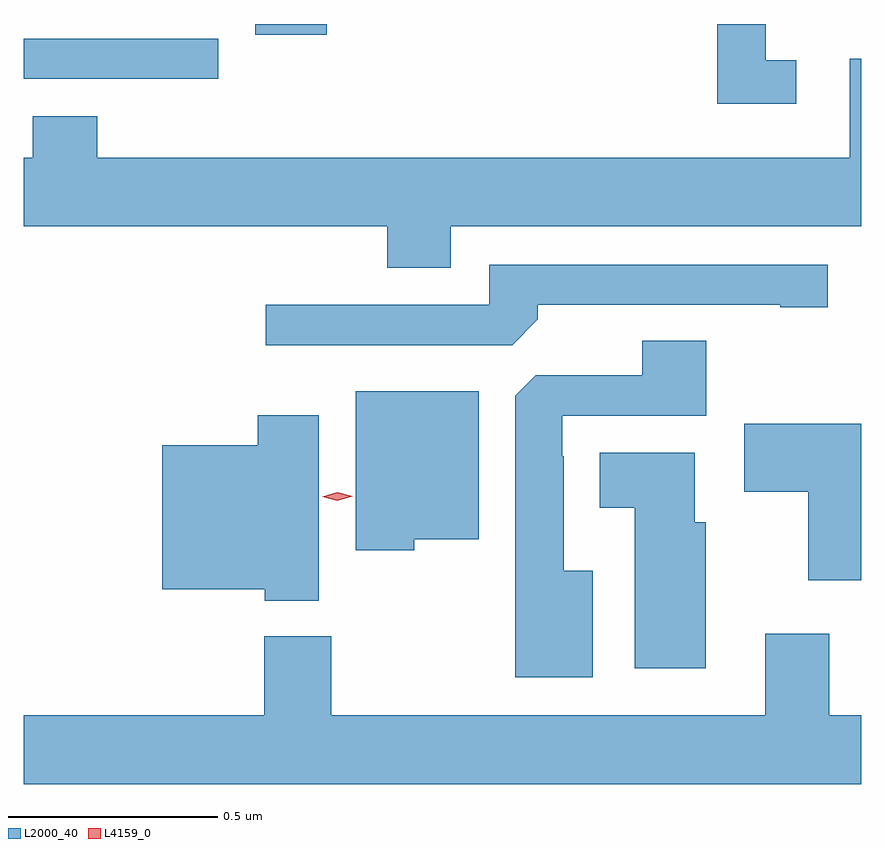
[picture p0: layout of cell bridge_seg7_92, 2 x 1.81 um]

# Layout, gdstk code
import gdstk
lib = gdstk.Library(unit=1e-6, precision=1e-09)
def R(c, l, rs):  # rectangles x0, y0, x1, y1
    for r in rs: c.add(gdstk.rectangle(r[:2], r[2:], *l))
def P(c, l, *ps):  # polygons
    for p in ps: c.add(gdstk.Polygon(p, *l))
L2000_40 = (2000, 40)
L4159_0 = (4159, 0)

bridge_seg7_92 = lib.new_cell('bridge_seg7_92')
R(bridge_seg7_92, L2000_40, [(1092.307,1000.968,1092.772,1001.064), (1092.86,1001.073,1093.031,1001.099)])
P(bridge_seg7_92, L2000_40, [(1094.152,1001.013),(1094.079,1001.013),(1094.079,1001.099),(1093.963,1001.099),(1093.963,1000.908),(1094.152,1000.908)],
  [(1093.327,1000.616),(1094.307,1000.616),(1094.307,1001.016),(1094.279,1001.016),(1094.279,1000.78),(1092.482,1000.78),(1092.482,1000.879),(1092.329,1000.879),(1092.329,1000.78),(1092.307,1000.78),(1092.307,1000.616),(1093.175,1000.616),(1093.175,1000.517),(1093.327,1000.517)],
  [(1093.535,1000.394),(1093.535,1000.428),(1094.114,1000.428),(1094.114,1000.423),(1094.227,1000.423),(1094.227,1000.524),(1093.419,1000.524),(1093.419,1000.428),(1092.885,1000.428),(1092.885,1000.332),(1093.473,1000.332)],
  [(1093.666,999.793),(1093.597,999.793),(1093.597,1000.067),(1093.593,1000.067),(1093.593,1000.164),(1093.937,1000.164),(1093.937,1000.343),(1093.784,1000.343),(1093.784,1000.26),(1093.53,1000.26),(1093.481,1000.211),(1093.481,999.539),(1093.666,999.539)],
  [(1093.239,999.869),(1093.393,999.869),(1093.393,1000.222),(1093.1,1000.222),(1093.1,999.842),(1093.239,999.842)],
  [(1093.012,1000.165),(1092.866,1000.165),(1092.866,1000.093),(1092.638,1000.093),(1092.638,999.749),(1092.882,999.749),(1092.882,999.722),(1093.012,999.722)],
  [(1094.307,1000.144),(1094.028,1000.144),(1094.028,999.982),(1094.18,999.982),(1094.18,999.771),(1094.307,999.771)],
  [(1093.936,999.909),(1093.909,999.909),(1093.909,1000.075),(1093.682,1000.075),(1093.682,999.944),(1093.766,999.944),(1093.766,999.561),(1093.936,999.561)],
  [(1094.307,999.448),(1094.231,999.448),(1094.231,999.643),(1094.078,999.643),(1094.078,999.448),(1093.041,999.448),(1093.041,999.637),(1092.881,999.637),(1092.881,999.448),(1092.307,999.448),(1092.307,999.284),(1094.307,999.284)])
P(bridge_seg7_92, L4159_0, [(1093.056,999.961),(1093.02,999.97),(1093.02,999.97),(1093.02,999.97),(1093.056,999.981),(1093.093,999.971),(1093.093,999.971),(1093.093,999.971)])

lib.write_gds('bridge_seg7_92.gds')
